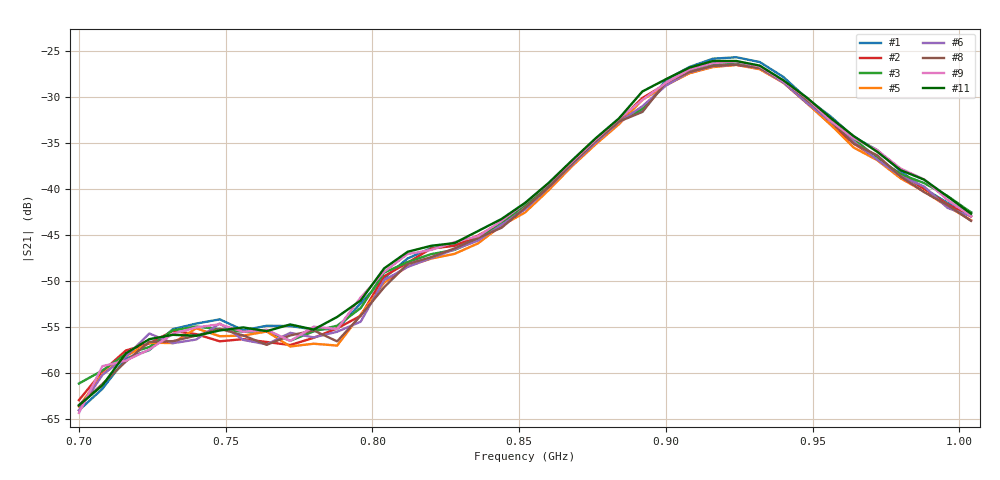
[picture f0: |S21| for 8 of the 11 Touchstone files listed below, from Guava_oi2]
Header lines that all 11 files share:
# Hz S RI R 50
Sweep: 700 MHz to 1.004 GHz
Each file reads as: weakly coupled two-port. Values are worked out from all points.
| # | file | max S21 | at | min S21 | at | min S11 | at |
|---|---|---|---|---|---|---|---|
| 1 | oi40.s2p | -25.65 dB | 924 MHz | -64.1 dB | 700 MHz | -19.6 dB | 924 MHz |
| 2 | oi41.s2p | -26.46 dB | 924 MHz | -62.9 dB | 700 MHz | -15.1 dB | 932 MHz |
| 3 | oi42.s2p | -26.36 dB | 924 MHz | -61.1 dB | 700 MHz | -16.8 dB | 932 MHz |
| 4 | oi43.s2p | -26.59 dB | 924 MHz | -63.4 dB | 700 MHz | -14.5 dB | 932 MHz |
| 5 | oi44.s2p | -26.48 dB | 924 MHz | -63.6 dB | 700 MHz | -14.8 dB | 932 MHz |
| 6 | oi45.s2p | -26.44 dB | 924 MHz | -64.0 dB | 700 MHz | -15.4 dB | 932 MHz |
| 7 | oi46.s2p | -26.40 dB | 924 MHz | -65.7 dB | 700 MHz | -16.1 dB | 932 MHz |
| 8 | oi47.s2p | -26.46 dB | 924 MHz | -63.5 dB | 700 MHz | -16.4 dB | 932 MHz |
| 9 | oi48.s2p | -26.11 dB | 924 MHz | -64.3 dB | 700 MHz | -16.3 dB | 924 MHz |
| 10 | oi49.s2p | -26.12 dB | 892 MHz | -63.7 dB | 700 MHz | -16.8 dB | 924 MHz |
| 11 | oi50.s2p | -26.06 dB | 924 MHz | -63.5 dB | 700 MHz | -15.9 dB | 924 MHz |
